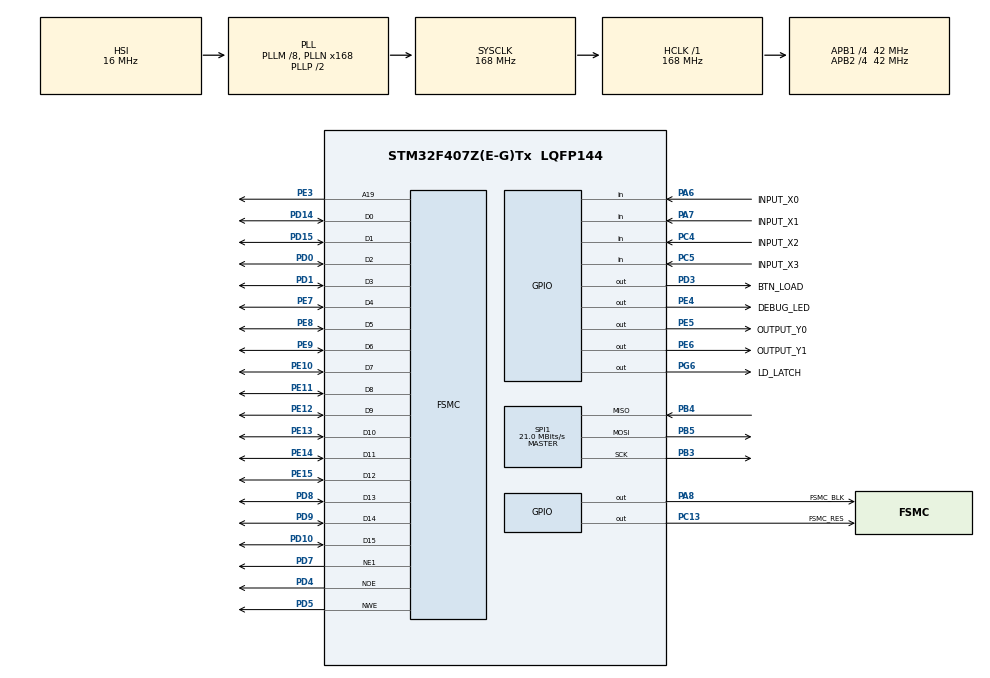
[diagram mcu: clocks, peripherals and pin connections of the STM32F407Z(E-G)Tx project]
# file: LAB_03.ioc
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FSMC.AddressSetupTime1=0xf
FSMC.BusTurnAroundDuration1=0
FSMC.DataSetupTime1=60
FSMC.ExtendedAddressSetupTime1=8
FSMC.ExtendedBusTurnAroundDuration1=0
FSMC.ExtendedDataSetupTime1=9
FSMC.ExtendedMode1=FSMC_EXTENDED_MODE_ENABLE
Mcu.Family=STM32F4
Mcu.Name=STM32F407Z(E-G)Tx
Mcu.Package=LQFP144
NVIC.PriorityGroup=NVIC_PRIORITYGROUP_4
NVIC.TIM2_IRQn=true\:0\:0\:false\:false\:true\:true\:true
PA13.Mode=Serial_Wire
PA13.Signal=SYS_JTMS-SWDIO
PA14.Mode=Serial_Wire
PA14.Signal=SYS_JTCK-SWCLK
PA6.GPIO_Label=INPUT_X0
PA6.Signal=GPIO_Input
PA7.GPIO_Label=INPUT_X1
PA7.Signal=GPIO_Input
PA8.GPIO_Label=FSMC_BLK
PA8.Signal=GPIO_Output
PB3.Mode=Full_Duplex_Master
PB3.Signal=SPI1_SCK
PB4.Mode=Full_Duplex_Master
PB4.Signal=SPI1_MISO
PB5.Mode=Full_Duplex_Master
PB5.Signal=SPI1_MOSI
PC13-ANTI_TAMP.GPIO_Label=FSMC_RES
PC13-ANTI_TAMP.Signal=GPIO_Output
PC4.GPIO_Label=INPUT_X2
PC4.Signal=GPIO_Input
PC5.GPIO_Label=INPUT_X3
PC5.Signal=GPIO_Input
PD0.Signal=FSMC_D2_DA2
PD1.Signal=FSMC_D3_DA3
PD10.Signal=FSMC_D15_DA15
PD14.Signal=FSMC_D0_DA0
PD15.Signal=FSMC_D1_DA1
PD3.GPIO_Label=BTN_LOAD
PD3.Signal=GPIO_Output
PD4.Signal=FSMC_NOE
PD5.Signal=FSMC_NWE
PD7.Mode=NorPsramChipSelect1_1
PD7.Signal=FSMC_NE1
PD8.Signal=FSMC_D13_DA13
PD9.Signal=FSMC_D14_DA14
PE10.Signal=FSMC_D7_DA7
PE11.Signal=FSMC_D8_DA8
PE12.Signal=FSMC_D9_DA9
PE13.Signal=FSMC_D10_DA10
PE14.Signal=FSMC_D11_DA11
PE15.Signal=FSMC_D12_DA12
PE3.Signal=FSMC_A19
PE4.GPIO_Label=DEBUG_LED
PE4.Signal=GPIO_Output
PE5.GPIO_Label=OUTPUT_Y0
PE5.Signal=GPIO_Output
PE6.GPIO_Label=OUTPUT_Y1
PE6.Signal=GPIO_Output
PE7.Signal=FSMC_D4_DA4
PE8.Signal=FSMC_D5_DA5
PE9.Signal=FSMC_D6_DA6
PG6.GPIO_Label=LD_LATCH
PG6.Signal=GPIO_Output
PH0-OSC_IN.Mode=HSE-External-Oscillator
PH0-OSC_IN.Signal=RCC_OSC_IN
PH1-OSC_OUT.Mode=HSE-External-Oscillator
PH1-OSC_OUT.Signal=RCC_OSC_OUT
ProjectManager.HeapSize=0x200
ProjectManager.StackSize=0x400
ProjectManager.TargetToolchain=STM32CubeIDE
RCC.48MHZClocksFreq_Value=84000000
RCC.AHBFreq_Value=168000000
RCC.APB1CLKDivider=RCC_HCLK_DIV4
RCC.APB1Freq_Value=42000000
RCC.APB1TimFreq_Value=84000000
RCC.APB2CLKDivider=RCC_HCLK_DIV4
RCC.APB2Freq_Value=42000000
RCC.APB2TimFreq_Value=84000000
RCC.CortexFreq_Value=168000000
RCC.HCLKFreq_Value=168000000
RCC.HSE_VALUE=8000000
RCC.HSI_VALUE=16000000
RCC.LSE_VALUE=32768
RCC.PLLM=8
RCC.PLLN=168
RCC.SYSCLKFreq_VALUE=168000000
RCC.SYSCLKSource=RCC_SYSCLKSOURCE_PLLCLK
RCC.VCOOutputFreq_Value=336000000
SH.FSMC_A19.0=FSMC_A19,A19_1
SH.FSMC_D0_DA0.0=FSMC_D0,16b-d1
SH.FSMC_D10_DA10.0=FSMC_D10,16b-d1
SH.FSMC_D11_DA11.0=FSMC_D11,16b-d1
SH.FSMC_D12_DA12.0=FSMC_D12,16b-d1
SH.FSMC_D13_DA13.0=FSMC_D13,16b-d1
SH.FSMC_D14_DA14.0=FSMC_D14,16b-d1
SH.FSMC_D15_DA15.0=FSMC_D15,16b-d1
SH.FSMC_D1_DA1.0=FSMC_D1,16b-d1
SH.FSMC_D2_DA2.0=FSMC_D2,16b-d1
SH.FSMC_D3_DA3.0=FSMC_D3,16b-d1
SH.FSMC_D4_DA4.0=FSMC_D4,16b-d1
SH.FSMC_D5_DA5.0=FSMC_D5,16b-d1
SH.FSMC_D6_DA6.0=FSMC_D6,16b-d1
SH.FSMC_D7_DA7.0=FSMC_D7,16b-d1
SH.FSMC_D8_DA8.0=FSMC_D8,16b-d1
SH.FSMC_D9_DA9.0=FSMC_D9,16b-d1
SH.FSMC_NOE.0=FSMC_NOE,Lcd1
SH.FSMC_NWE.0=FSMC_NWE,Lcd1
SPI1.CalculateBaudRate=21.0 MBits/s
SPI1.Direction=SPI_DIRECTION_2LINES
SPI1.Mode=SPI_MODE_MASTER
SPI1.VirtualType=VM_MASTER
TIM2.Period=100-1
TIM2.Prescaler=840-1
VP_TIM2_VS_ClockSourceINT.Mode=Internal
board=custom

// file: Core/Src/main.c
/* USER CODE BEGIN Header */
/**
  ******************************************************************************
  * @file           : main.c
  * @brief          : Main program body
  ******************************************************************************
  * @attention
  *
  * <h2><center>&copy; Copyright (c) 2025 STMicroelectronics.
  * All rights reserved.</center></h2>
  *
  * This software component is licensed by ST under BSD 3-Clause license,
  * the "License"; You may not use this file except in compliance with the
  * License. You may obtain a copy of the License at:
  *                        opensource.org/licenses/BSD-3-Clause
  *
  ******************************************************************************
  */
/* USER CODE END Header */
#include "main.h"

/* USER CODE BEGIN Includes */
#include "software_timer.h"
#include "led_7seg.h"
#include "button.h"
#include "lcd.h"
#include "picture.h"
/* USER CODE END Includes */

/* USER CODE BEGIN PD */
#define INIT		1
#define RED_GREEN	2
#define RED_YELLOW	3
#define GREEN_RED	4
#define YELLOW_RED	5
#define MOD_RED		6
#define MOD_GREEN	7
#define MOD_YELLOW	8

#define MAN_RED		16
#define MAN_GREEN	17
#define MAN_YELLOW	18
/* USER CODE END PD */

SPI_HandleTypeDef hspi1;

TIM_HandleTypeDef htim2;

SRAM_HandleTypeDef hsram1;

void SystemClock_Config(void);
static void MX_GPIO_Init(void);
static void MX_SPI1_Init(void);
static void MX_TIM2_Init(void);
static void MX_FSMC_Init(void);
/* USER CODE BEGIN PFP */
void system_init();
void test_LedDebug();
void test_LedY0();
void test_LedY1();
void test_7seg();
void test_button();
void test_lcd();
void fsm_traffic_light_run();
/* USER CODE END PFP */

int main(void)
{

  /* MCU Configuration--------------------------------------------------------*/

  /* Reset of all peripherals, Initializes the Flash interface and the Systick. */
  HAL_Init();

  /* Configure the system clock */
  SystemClock_Config();

  /* Initialize all configured peripherals */
  MX_GPIO_Init();
  MX_SPI1_Init();
  MX_TIM2_Init();
  MX_FSMC_Init();
  /* USER CODE BEGIN 2 */
  system_init();
  lcd_Clear(WHITE);
  test_lcd();
  /* USER CODE END 2 */

  /* Infinite loop */
  /* USER CODE BEGIN WHILE */
  while (1)
  {
	  while(!flag_timer2);
	  flag_timer2 = 0;
	  led7_Scan();
	  button_Scan();
//	  test_button();
	  fsm_traffic_light_run();
    /* USER CODE END WHILE */

  }
}

void SystemClock_Config(void)
{
  RCC_OscInitTypeDef RCC_OscInitStruct = {0};
  RCC_ClkInitTypeDef RCC_ClkInitStruct = {0};

  /** Configure the main internal regulator output voltage
  */
  __HAL_RCC_PWR_CLK_ENABLE();
  __HAL_PWR_VOLTAGESCALING_CONFIG(PWR_REGULATOR_VOLTAGE_SCALE1);
  /** Initializes the RCC Oscillators according to the specified parameters
  * in the RCC_OscInitTypeDef structure.
  */
  RCC_OscInitStruct.OscillatorType = RCC_OSCILLATORTYPE_HSI;
  RCC_OscInitStruct.HSIState = RCC_HSI_ON;
  RCC_OscInitStruct.HSICalibrationValue = RCC_HSICALIBRATION_DEFAULT;
  RCC_OscInitStruct.PLL.PLLState = RCC_PLL_ON;
  RCC_OscInitStruct.PLL.PLLSource = RCC_PLLSOURCE_HSI;
  RCC_OscInitStruct.PLL.PLLM = 8;
  RCC_OscInitStruct.PLL.PLLN = 168;
  RCC_OscInitStruct.PLL.PLLP = RCC_PLLP_DIV2;
  RCC_OscInitStruct.PLL.PLLQ = 4;
  if (HAL_RCC_OscConfig(&RCC_OscInitStruct) != HAL_OK)
  {
    Error_Handler();
  }
  /** Initializes the CPU, AHB and APB buses clocks
  */
  RCC_ClkInitStruct.ClockType = RCC_CLOCKTYPE_HCLK|RCC_CLOCKTYPE_SYSCLK
                              |RCC_CLOCKTYPE_PCLK1|RCC_CLOCKTYPE_PCLK2;
  RCC_ClkInitStruct.SYSCLKSource = RCC_SYSCLKSOURCE_PLLCLK;
  RCC_ClkInitStruct.AHBCLKDivider = RCC_SYSCLK_DIV1;
  RCC_ClkInitStruct.APB1CLKDivider = RCC_HCLK_DIV4;
  RCC_ClkInitStruct.APB2CLKDivider = RCC_HCLK_DIV4;

  if (HAL_RCC_ClockConfig(&RCC_ClkInitStruct, FLASH_LATENCY_5) != HAL_OK)
  {
    Error_Handler();
  }
}

static void MX_SPI1_Init(void)
{

  /* SPI1 parameter configuration*/
  hspi1.Instance = SPI1;
  hspi1.Init.Mode = SPI_MODE_MASTER;
  hspi1.Init.Direction = SPI_DIRECTION_2LINES;
  hspi1.Init.DataSize = SPI_DATASIZE_8BIT;
  hspi1.Init.CLKPolarity = SPI_POLARITY_LOW;
  hspi1.Init.CLKPhase = SPI_PHASE_1EDGE;
  hspi1.Init.NSS = SPI_NSS_SOFT;
  hspi1.Init.BaudRatePrescaler = SPI_BAUDRATEPRESCALER_2;
  hspi1.Init.FirstBit = SPI_FIRSTBIT_MSB;
  hspi1.Init.TIMode = SPI_TIMODE_DISABLE;
  hspi1.Init.CRCCalculation = SPI_CRCCALCULATION_DISABLE;
  hspi1.Init.CRCPolynomial = 10;
  if (HAL_SPI_Init(&hspi1) != HAL_OK)
  {
    Error_Handler();
  }

}

static void MX_TIM2_Init(void)
{

  TIM_ClockConfigTypeDef sClockSourceConfig = {0};
  TIM_MasterConfigTypeDef sMasterConfig = {0};

  htim2.Instance = TIM2;
  htim2.Init.Prescaler = 840-1;
  htim2.Init.CounterMode = TIM_COUNTERMODE_UP;
  htim2.Init.Period = 100-1;
  htim2.Init.ClockDivision = TIM_CLOCKDIVISION_DIV1;
  htim2.Init.AutoReloadPreload = TIM_AUTORELOAD_PRELOAD_DISABLE;
  if (HAL_TIM_Base_Init(&htim2) != HAL_OK)
  {
    Error_Handler();
  }
  sClockSourceConfig.ClockSource = TIM_CLOCKSOURCE_INTERNAL;
  if (HAL_TIM_ConfigClockSource(&htim2, &sClockSourceConfig) != HAL_OK)
  {
    Error_Handler();
  }
  sMasterConfig.MasterOutputTrigger = TIM_TRGO_RESET;
  sMasterConfig.MasterSlaveMode = TIM_MASTERSLAVEMODE_DISABLE;
  if (HAL_TIMEx_MasterConfigSynchronization(&htim2, &sMasterConfig) != HAL_OK)
  {
    Error_Handler();
  }

}

static void MX_GPIO_Init(void)
{
  GPIO_InitTypeDef GPIO_InitStruct = {0};

  /* GPIO Ports Clock Enable */
  __HAL_RCC_GPIOE_CLK_ENABLE();
  __HAL_RCC_GPIOC_CLK_ENABLE();
  __HAL_RCC_GPIOH_CLK_ENABLE();
  __HAL_RCC_GPIOA_CLK_ENABLE();
  __HAL_RCC_GPIOD_CLK_ENABLE();
  __HAL_RCC_GPIOG_CLK_ENABLE();
  __HAL_RCC_GPIOB_CLK_ENABLE();

  /*Configure GPIO pin Output Level */
  HAL_GPIO_WritePin(GPIOE, DEBUG_LED_Pin|OUTPUT_Y0_Pin|OUTPUT_Y1_Pin, GPIO_PIN_RESET);

  /*Configure GPIO pin Output Level */
  HAL_GPIO_WritePin(FSMC_RES_GPIO_Port, FSMC_RES_Pin, GPIO_PIN_RESET);

  /*Configure GPIO pin Output Level */
  HAL_GPIO_WritePin(LD_LATCH_GPIO_Port, LD_LATCH_Pin, GPIO_PIN_RESET);

  /*Configure GPIO pin Output Level */
  HAL_GPIO_WritePin(FSMC_BLK_GPIO_Port, FSMC_BLK_Pin, GPIO_PIN_RESET);

  /*Configure GPIO pin Output Level */
  HAL_GPIO_WritePin(BTN_LOAD_GPIO_Port, BTN_LOAD_Pin, GPIO_PIN_RESET);

  /*Configure GPIO pins : DEBUG_LED_Pin OUTPUT_Y0_Pin OUTPUT_Y1_Pin */
  GPIO_InitStruct.Pin = DEBUG_LED_Pin|OUTPUT_Y0_Pin|OUTPUT_Y1_Pin;
  GPIO_InitStruct.Mode = GPIO_MODE_OUTPUT_PP;
  GPIO_InitStruct.Pull = GPIO_NOPULL;
  GPIO_InitStruct.Speed = GPIO_SPEED_FREQ_LOW;
  HAL_GPIO_Init(GPIOE, &GPIO_InitStruct);

  /*Configure GPIO pin : FSMC_RES_Pin */
  GPIO_InitStruct.Pin = FSMC_RES_Pin;
  GPIO_InitStruct.Mode = GPIO_MODE_OUTPUT_PP;
  GPIO_InitStruct.Pull = GPIO_NOPULL;
  GPIO_InitStruct.Speed = GPIO_SPEED_FREQ_LOW;
  HAL_GPIO_Init(FSMC_RES_GPIO_Port, &GPIO_InitStruct);

  /*Configure GPIO pins : INPUT_X0_Pin INPUT_X1_Pin */
  GPIO_InitStruct.Pin = INPUT_X0_Pin|INPUT_X1_Pin;
  GPIO_InitStruct.Mode = GPIO_MODE_INPUT;
  GPIO_InitStruct.Pull = GPIO_NOPULL;
  HAL_GPIO_Init(GPIOA, &GPIO_InitStruct);

  /*Configure GPIO pins : INPUT_X2_Pin INPUT_X3_Pin */
  GPIO_InitStruct.Pin = INPUT_X2_Pin|INPUT_X3_Pin;
  GPIO_InitStruct.Mode = GPIO_MODE_INPUT;
  GPIO_InitStruct.Pull = GPIO_NOPULL;
  HAL_GPIO_Init(GPIOC, &GPIO_InitStruct);

  /*Configure GPIO pin : LD_LATCH_Pin */
  GPIO_InitStruct.Pin = LD_LATCH_Pin;
  GPIO_InitStruct.Mode = GPIO_MODE_OUTPUT_PP;
  GPIO_InitStruct.Pull = GPIO_NOPULL;
  GPIO_InitStruct.Speed = GPIO_SPEED_FREQ_LOW;
  HAL_GPIO_Init(LD_LATCH_GPIO_Port, &GPIO_InitStruct);

  /*Configure GPIO pin : FSMC_BLK_Pin */
  GPIO_InitStruct.Pin = FSMC_BLK_Pin;
  GPIO_InitStruct.Mode = GPIO_MODE_OUTPUT_PP;
  GPIO_InitStruct.Pull = GPIO_NOPULL;
  GPIO_InitStruct.Speed = GPIO_SPEED_FREQ_LOW;
  HAL_GPIO_Init(FSMC_BLK_GPIO_Port, &GPIO_InitStruct);

  /*Configure GPIO pin : BTN_LOAD_Pin */
  GPIO_InitStruct.Pin = BTN_LOAD_Pin;
  GPIO_InitStruct.Mode = GPIO_MODE_OUTPUT_PP;
  GPIO_InitStruct.Pull = GPIO_NOPULL;
  GPIO_InitStruct.Speed = GPIO_SPEED_FREQ_LOW;
  HAL_GPIO_Init(BTN_LOAD_GPIO_Port, &GPIO_InitStruct);

}

/* FSMC initialization function */
static void MX_FSMC_Init(void)
{

  FSMC_NORSRAM_TimingTypeDef Timing = {0};
  FSMC_NORSRAM_TimingTypeDef ExtTiming = {0};

  /** Perform the SRAM1 memory initialization sequence
  */
  hsram1.Instance = FSMC_NORSRAM_DEVICE;
  hsram1.Extended = FSMC_NORSRAM_EXTENDED_DEVICE;
  /* hsram1.Init */
  hsram1.Init.NSBank = FSMC_NORSRAM_BANK1;
  hsram1.Init.DataAddressMux = FSMC_DATA_ADDRESS_MUX_DISABLE;
  hsram1.Init.MemoryType = FSMC_MEMORY_TYPE_SRAM;
  hsram1.Init.MemoryDataWidth = FSMC_NORSRAM_MEM_BUS_WIDTH_16;
  hsram1.Init.BurstAccessMode = FSMC_BURST_ACCESS_MODE_DISABLE;
  hsram1.Init.WaitSignalPolarity = FSMC_WAIT_SIGNAL_POLARITY_LOW;
  hsram1.Init.WrapMode = FSMC_WRAP_MODE_DISABLE;
  hsram1.Init.WaitSignalActive = FSMC_WAIT_TIMING_BEFORE_WS;
  hsram1.Init.WriteOperation = FSMC_WRITE_OPERATION_ENABLE;
  hsram1.Init.WaitSignal = FSMC_WAIT_SIGNAL_DISABLE;
  hsram1.Init.ExtendedMode = FSMC_EXTENDED_MODE_ENABLE;
  hsram1.Init.AsynchronousWait = FSMC_ASYNCHRONOUS_WAIT_DISABLE;
  hsram1.Init.WriteBurst = FSMC_WRITE_BURST_DISABLE;
  hsram1.Init.PageSize = FSMC_PAGE_SIZE_NONE;
  /* Timing */
  Timing.AddressSetupTime = 0xf;
  Timing.AddressHoldTime = 15;
  Timing.DataSetupTime = 60;
  Timing.BusTurnAroundDuration = 0;
  Timing.CLKDivision = 16;
  Timing.DataLatency = 17;
  Timing.AccessMode = FSMC_ACCESS_MODE_A;
  /* ExtTiming */
  ExtTiming.AddressSetupTime = 8;
  ExtTiming.AddressHoldTime = 15;
  ExtTiming.DataSetupTime = 9;
  ExtTiming.BusTurnAroundDuration = 0;
  ExtTiming.CLKDivision = 16;
  ExtTiming.DataLatency = 17;
  ExtTiming.AccessMode = FSMC_ACCESS_MODE_A;

  if (HAL_SRAM_Init(&hsram1, &Timing, &ExtTiming) != HAL_OK)
  {
    Error_Handler( );
  }

}

/* USER CODE BEGIN 4 */
void system_init(){
	  HAL_GPIO_WritePin(OUTPUT_Y0_GPIO_Port, OUTPUT_Y0_Pin, 0);
	  HAL_GPIO_WritePin(OUTPUT_Y1_GPIO_Port, OUTPUT_Y1_Pin, 0);
	  HAL_GPIO_WritePin(DEBUG_LED_GPIO_Port, DEBUG_LED_Pin, 0);
	  timer_init();
	  led7_init();
	  button_init();
	  lcd_init();
	  setTimer2(50);
}

uint8_t count_led_debug = 0;
uint8_t count_led_Y0 = 0;
uint8_t count_led_Y1 = 0;

void test_LedDebug(){
	count_led_debug = (count_led_debug + 1)%40;
	if(count_led_debug == 0){
		HAL_GPIO_TogglePin(DEBUG_LED_GPIO_Port, DEBUG_LED_Pin);
	}
}

void test_LedY0(){
	count_led_Y0 = (count_led_Y0+ 1)%120;
	if(count_led_Y0 > 40){
		HAL_GPIO_WritePin(OUTPUT_Y0_GPIO_Port, OUTPUT_Y0_Pin, 1);
	} else {
		HAL_GPIO_WritePin(OUTPUT_Y0_GPIO_Port, OUTPUT_Y0_Pin, 0);
	}
}

void test_LedY1(){
	count_led_Y1 = (count_led_Y1+ 1)%120;
	if(count_led_Y1 > 20){
		HAL_GPIO_WritePin(OUTPUT_Y1_GPIO_Port, OUTPUT_Y1_Pin, 1);
	} else {
		HAL_GPIO_WritePin(OUTPUT_Y0_GPIO_Port, OUTPUT_Y1_Pin, 0);
	}
}

void test_7seg(){
	led7_SetDigit(0, 0, 0);
	led7_SetDigit(5, 1, 0);
	led7_SetDigit(4, 2, 0);
	led7_SetDigit(7, 3, 0);
}
void test_button(){
	for(int i = 0; i < 16; i++){
		if(button_count[i] == 1){
			lcd_ShowIntNum(136, 125, i, 2, BRED, GREEN, 32);
		}
	}
}

void test_lcd(){
	lcd_Fill(0, 0, 240, 20, BLUE);
	lcd_StrCenter(0, 2, "Hello World !!!", RED, BLUE, 16, 1);
	lcd_ShowStr(55, 30, "- Mode 1 -", WHITE, RED, 24, 0);
	lcd_ShowStr(50, 60, "Normal Mode", WHITE, RED, 24, 0);
	lcd_ShowStr(32, 190, "DEN 1", BLUE, WHITE, 24, 0);
	lcd_ShowStr(130, 190, "DEN 2", BLUE, WHITE, 24, 0);
	lcd_ShowPicture(80, 220, 90, 90, gImage_logo);
}

void lcd_mod2() {
	lcd_Fill(0, 0, 240, 20, BLUE);
	lcd_StrCenter(0, 2, "Hello World !!!", RED, BLUE, 16, 1);
	lcd_ShowStr(55, 30, "- Mode 2 -", WHITE, RED, 24, 0);
	lcd_ShowStr(50, 60, "Modify RED", WHITE, RED, 24, 0);
	lcd_ShowPicture(80, 220, 90, 90, gImage_logo);
}

void lcd_mod3() {
	lcd_Fill(0, 0, 240, 20, BLUE);
	lcd_StrCenter(0, 2, "Hello World !!!", RED, BLUE, 16, 1);
	lcd_ShowStr(55, 30, "- Mode 3 -", WHITE, GREEN, 24, 0);
	lcd_ShowStr(50, 60, "Modify GREEN", WHITE, GREEN, 24, 0);
	lcd_ShowPicture(80, 220, 90, 90, gImage_logo);
}

void lcd_mod4() {
	lcd_Fill(0, 0, 240, 20, BLUE);
	lcd_StrCenter(0, 2, "Hello World !!!", RED, BLUE, 16, 1);
	lcd_ShowStr(55, 30, "- Mode 4 -", WHITE, YELLOW, 24, 0);
	lcd_ShowStr(50, 60, "Modify YELLOW", WHITE, YELLOW, 24, 0);
	lcd_ShowPicture(80, 220, 90, 90, gImage_logo);
}

int status = INIT;

int count_RG = 0;
int count_RY = 0;

int tmp_R = 0;
int tmp_G = 0;

int value = 0;

int TIME_RED = 5;
int TIME_YELLOW = 1;
int TIME_GREEN = 3;

int TIME_RG = 0;

int TIME_RED_tmp = 0;
int TIME_YELLOW_tmp = 0;
int TIME_GREEN_tmp = 0;

uint8_t cnt = 0;

void fsm_traffic_light_run() {
	switch (status) {
	case INIT:
		status = RED_GREEN;
		count_RG = TIME_RED * 20;
		TIME_RG = (TIME_RED - TIME_GREEN) * 20;
		lcd_Clear(WHITE);
		test_lcd();
		break;
	case RED_GREEN:
		lcd_DrawCircle(60, 140, RED, 40, 1);
		lcd_DrawCircle(160, 140, GREEN, 40, 1);
		tmp_R = count_RG / 20;
		tmp_G = (count_RG - TIME_RG) / 20;

		if(button_count[12] == 1) {
			status = MOD_RED;
			value = TIME_RED;
			lcd_Clear(WHITE);
			lcd_mod2();
			cnt = 0;
		}

		if (count_RG <= TIME_RG) {
			status = RED_YELLOW;
			count_RY = TIME_RG;
			test_lcd();
		}
		else {
			lcd_ShowIntNum(38, 125, tmp_R, 2, WHITE, RED, 32);
			lcd_ShowIntNum(136, 125, tmp_G, 2, WHITE, GREEN, 32);
		}
		--count_RG;
		break;
	case RED_YELLOW:
		lcd_DrawCircle(60, 140, RED, 40, 1);
		lcd_DrawCircle(160, 140, YELLOW, 40, 1);
		tmp_R = count_RY / 20;

		if(button_count[12] == 1) {
			status = MOD_RED;
			value = TIME_RED;
			lcd_Clear(WHITE);
			lcd_mod2();
			cnt = 0;
		}

		if (count_RY <= 0) {
			status = GREEN_RED;
			count_RG = TIME_RED * 20;
			test_lcd();
		}
		else {
			lcd_ShowIntNum(38, 125, tmp_R, 2, WHITE, RED, 32);
			lcd_ShowIntNum(136, 125, tmp_R, 2, WHITE, YELLOW, 32);
		}
		--count_RY;
		break;
	case GREEN_RED:
		lcd_DrawCircle(60, 140, GREEN, 40, 1);
		lcd_DrawCircle(160, 140, RED, 40, 1);
		tmp_R = count_RG / 20;
		tmp_G = (count_RG - TIME_RG) / 20;

		if(button_count[12] == 1) {
			status = MOD_RED;
			value = TIME_RED;
			lcd_Clear(WHITE);
			lcd_mod2();
			cnt = 0;
		}

		if (count_RG <= TIME_RG) {
			status = YELLOW_RED;
			count_RY = TIME_RG;
			test_lcd();
		}
		else {
			lcd_ShowIntNum(38, 125, tmp_G, 2, WHITE, GREEN, 32);
			lcd_ShowIntNum(136, 125, tmp_R, 2, WHITE, RED, 32);
		}
		--count_RG;
		break;
	case YELLOW_RED:
		lcd_DrawCircle(60, 140, YELLOW, 40, 1);
		lcd_DrawCircle(160, 140, RED, 40, 1);
		tmp_R = count_RY / 20;

		if(button_count[12] == 1) {
			status = MOD_RED;
			value = TIME_RED;
			lcd_Clear(WHITE);
			lcd_mod2();
			cnt = 0;
		}

		if (count_RY <= 0) {
			status = RED_GREEN;
			count_RG = TIME_RED * 20;
			test_lcd();
		}
		else {
			lcd_ShowIntNum(38, 125, tmp_R, 2, WHITE, YELLOW, 32);
			lcd_ShowIntNum(136, 125, tmp_R, 2, WHITE, RED, 32);
		}
		--count_RY;
		break;
	case MOD_RED:
		if (cnt == 0)
			lcd_DrawCircle(60, 140, RED, 40, 1);
		else if (cnt == 10)
			lcd_DrawCircle(60, 140, WHITE, 40, 1);
		cnt = (cnt + 1) % 20;

		if (button_count[13] == 1)
			value = (value >= 99) ? 1 : value + 1;
		else if (button_count[14] == 1)
			TIME_RED_tmp = value;
		else if (button_count[12] == 1) {
			status = MOD_GREEN;
			value = TIME_GREEN;
			lcd_Clear(WHITE);
			lcd_mod3();
			cnt = 0;
		}
		lcd_ShowIntNum(136, 125, value, 2, WHITE, RED, 32);
		break;
	case MOD_GREEN:
		if (cnt == 0)
			lcd_DrawCircle(60, 140, GREEN, 40, 1);
		else if (cnt == 10)
			lcd_DrawCircle(60, 140, WHITE, 40, 1);
		cnt = (cnt + 1) % 20;

		if (button_count[13] == 1)
			value = (value >= 99) ? 1 : value + 1;
		else if (button_count[14] == 1)
			TIME_GREEN_tmp = value;
		else if (button_count[12] == 1) {
			status = MOD_YELLOW;
			value = TIME_YELLOW;
			lcd_Clear(WHITE);
			lcd_mod4();
		}
		lcd_ShowIntNum(136, 125, value, 2, WHITE, GREEN, 32);
		break;
	case MOD_YELLOW:
		if (cnt == 0)
			lcd_DrawCircle(60, 140, YELLOW, 40, 1);
		else if (cnt == 10)
			lcd_DrawCircle(60, 140, WHITE, 40, 1);
		cnt = (cnt + 1) % 20;

		if (button_count[13] == 1)
			value = (value >= 99) ? 1 : value + 1;
		else if (button_count[14] == 1) {
			TIME_YELLOW_tmp = value;
			if (TIME_RED_tmp == 0 && TIME_YELLOW_tmp == 0 && TIME_GREEN_tmp == 0)
				break;
			if (TIME_GREEN_tmp + TIME_YELLOW_tmp == TIME_RED_tmp) {
				TIME_GREEN = TIME_GREEN_tmp;
				TIME_YELLOW = TIME_YELLOW_tmp;
				TIME_RED = TIME_RED_tmp;
			}
		}
		else if (button_count[12] == 1)
			status = INIT;
		lcd_ShowIntNum(136, 125, value, 2, WHITE, YELLOW, 32);
		break;
	}

}
/* USER CODE END 4 */

void Error_Handler(void)
{
  __disable_irq();
  while (1)
  {
  }
}

/************************ (C) COPYRIGHT STMicroelectronics *****END OF FILE****/
